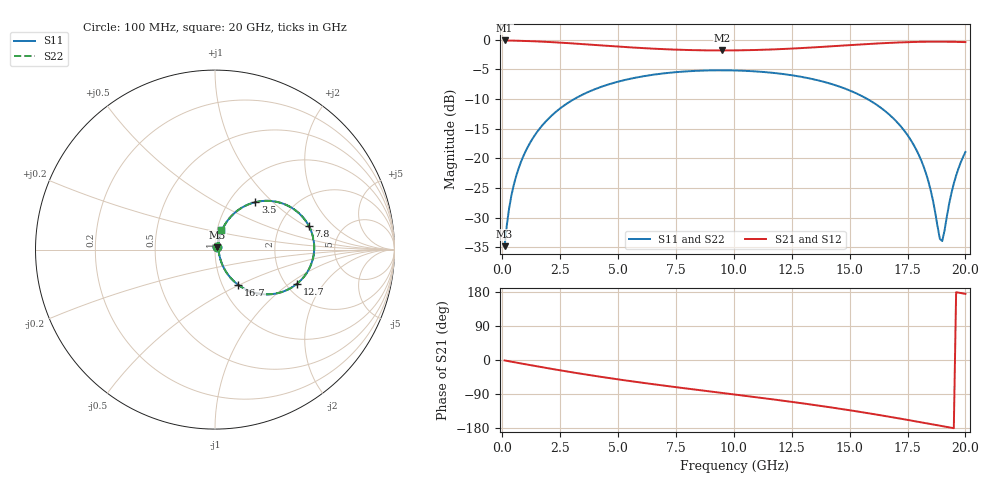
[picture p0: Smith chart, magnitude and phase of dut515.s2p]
! Touchstone file exported from HFSS 2026.1.0
!  File:  C:/ffzhzh/LocalFiles/Ansys_Project_Files/temp_train_TSV_RDL_515_1783109814_50312.aedt
!  Generated:  04:29:12 AM Jul  4, 2026
!  Design:  TSV_RDL
!  Project:  temp_train_TSV_RDL_515_1783109814_50312
! Variables:
!  h_bsmrdl = 2.99um
!  h_ox = 20um
!  h_rdl = 5um
!  h_sub = 91.85um
!  h_tmrdl = 3.55um
!  h_tsv = 91.85um
!  h_via = 3um
!  l_bsmrdl = 112.71um
!  l_sub = 2938.79um
!  l_tmrdl = 513.46um
!  m_sub = 200um
!  pitch = 54.9um
!  r_tsv = 6.52um
!  s_tmrdl = 10um
!  w_bsmrdl = 27.67um
!  w_sub = 500um
!  w_tmrdl = 21.27um
!  x_tsv_center1 = 524.095um
!  x_tsv_center2 = 664.475um
!  x_tsv_center3 = 1199.205um
!  x_tsv_center4 = 1339.585um
!  x_tsv_center5 = 1874.315um
!  x_tsv_center6 = 2014.695um
# GHz S MA R 50.000000
! Terminal data exported
! Port[1] = TM_RDL1_1_T1
! Port[2] = TM_RDL5_1_T1
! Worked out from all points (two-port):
!   200 points, 100 MHz to 20 GHz, reference 50 ohm
!   highest |S21| = -0.12 dB at 100 MHz (marker M1); lowest = -1.8 dB at 9.5 GHz (marker M2)
!   |S21| within 3 dB of the highest: start of sweep to end of sweep
!   lowest |S11| = -34.8 dB at 100 MHz (marker M3), VSWR 1.04, Z = 51.4 + j1.22 ohm
!   |S11| at or under -10 dB: start of sweep to 3.104 GHz; 15.77 GHz to end of sweep
!   |S22| runs from -34.8 to -5.1 dB; largest |S21 - S12| = 4.5e-14
!   S11 on the Smith chart (normalised r, x): 100 MHz: 1.03, +0.02; 3.5 GHz: 1.31, +0.79; 7.8 GHz: 2.89, +1.08; 12.7 GHz: 2.28, -1.15; 16.7 GHz: 1.19, -0.49; 20 GHz: 1.04, +0.23
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0.1  0.01824 40.5  0.9863 -1.2  0.9863 -1.2  0.01824 40.5
! Gamma 0 0 0 0
! Port Impedance 50 0 50 0
0.3  0.03855 64.2  0.9848 -3.5  0.9848 -3.5  0.03855 64.2
0.5  0.06031 69.3  0.9827 -5.7  0.9827 -5.7  0.06031 69.3
1.1  0.1249 69.8  0.9751 -12.3  0.9751 -12.3  0.1249 69.8
2.1  0.2267 62.3  0.9557 -23.1  0.9557 -23.1  0.2267 62.3
3.5  0.3474 49.6  0.9182 -37.3  0.9182 -37.3  0.3474 49.6
5  0.4434 36.4  0.876 -51.1  0.876 -51.1  0.4434 36.4
6.8  0.516 21.8  0.836 -66.2  0.836 -66.2  0.516 21.8
7.8  0.539 14.2  0.8217 -74.0  0.8217 -74.0  0.539 14.2
9.5  0.553 1.6  0.8125 -87.0  0.8125 -87.0  0.5531 1.6
10.1  0.5508 -2.8  0.8139 -91.6  0.8139 -91.6  0.5508 -2.8
12.7  0.4952 -22.6  0.8461 -112.1  0.8461 -112.1  0.4952 -22.6
13.4  0.4662 -28.2  0.861 -118.1  0.861 -118.1  0.4663 -28.2
15.3  0.3527 -44.4  0.9083 -135.4  0.9083 -135.4  0.3527 -44.4
16.7  0.2354 -56.6  0.941 -149.6  0.941 -149.6  0.2354 -56.6
17.5  0.1574 -62.5  0.9545 -158.1  0.9545 -158.1  0.1574 -62.6
18.1  0.09549 -64.2  0.9609 -164.6  0.9609 -164.6  0.09545 -64.3
18.5  0.05415 -59.0  0.9631 -169.0  0.9631 -169.0  0.05408 -59.2
18.9  0.02093 -14.1  0.9634 -173.4  0.9634 -173.4  0.02076 -14.2
19  0.02015 15.6  0.9632 -174.5  0.9632 -174.5  0.01997 15.7
19.5  0.06152 70.1  0.9606 -180.0  0.9606 -180.0  0.06147 70.2
20  0.1134 73.4  0.9552 174.5  0.9552 174.5  0.1133 73.5
